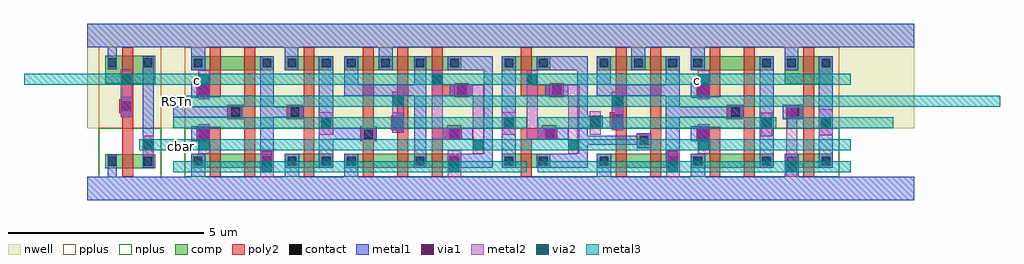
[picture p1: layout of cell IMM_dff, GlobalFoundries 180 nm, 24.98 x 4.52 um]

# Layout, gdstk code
import gdstk
lib = gdstk.Library(unit=1e-6, precision=5e-09)
def R(c, l, rs):  # rectangles x0, y0, x1, y1
    for r in rs: c.add(gdstk.rectangle(r[:2], r[2:], *l))
def A(c, l, x, y, w, h, nx, ny, dx, dy):  # array of equal rectangles
    R(c, l, [(x+i*dx, y+j*dy, x+i*dx+w, y+j*dy+h) for i in range(nx) for j in range(ny)])
nwell = (21, 0)
comp = (22, 0)
poly2 = (30, 0)
pplus = (31, 0)
nplus = (32, 0)
contact = (33, 0)
metal1 = (34, 0)
via1 = (35, 0)
metal2 = (36, 0)
via2 = (38, 0)
metal3 = (42, 0)

inv_6 = lib.new_cell('inv$6')
R(inv_6, nwell, [(0,1.84,2.2,4.52)])
R(inv_6, comp, [(0.46,0.82,1.74,1.18), (0.46,2.98,1.74,3.7)])
R(inv_6, poly2, [(0.9,0.6,1.18,3.92), (0.82,2.23,1.18,2.59)])
R(inv_6, pplus, [(0.3,1.84,1.9,3.93)])
R(inv_6, nplus, [(0.3,0.59,1.9,1.84)])
R(inv_6, contact, [(0.53,0.89,0.75,1.11), (1.45,0.89,1.67,1.11), (0.89,2.3,1.11,2.52), (0.53,3.41,0.75,3.63), (1.45,3.41,1.67,3.63)])
R(inv_6, metal1, [(0,0,2.2,0.6), (0.525,0.6,0.755,1.17), (1.42,0.83,1.7,3.69), (0.86,2.125,1.14,2.645), (0.525,3.35,0.755,3.92), (0,3.92,2.2,4.52)])
R(inv_6, via1, [(1.43,1.29,1.69,1.55), (0.87,2.28,1.13,2.54)])
R(inv_6, metal2, [(1.42,1.135,1.7,1.655), (0.86,2.125,1.14,3.355)])
R(inv_6, via2, [(1.43,1.29,1.69,1.55), (0.87,2.97,1.13,3.23)])
R(inv_6, metal3, [(1.34,1.28,2.2,1.56), (-1.615,2.96,1.7,3.24)])

imm_dff = lib.new_cell('IMM_dff')
R(imm_dff, nwell, [(-1.285,-1.94,17.68,0.74)])
R(imm_dff, comp, [(-0.825,-2.95,1.295,-2.59), (1.575,-2.95,2.815,-2.59), (3.095,-2.95,6.095,-2.59), (7.13,-2.95,8.37,-2.59), (9.565,-2.95,11.685,-2.59), (11.965,-2.95,14.085,-2.59), (14.365,-2.95,15.605,-2.59), (14.365,-0.81,15.605,-0.09), (-0.825,-0.45,1.295,-0.09), (1.575,-0.45,2.815,-0.09), (3.095,-0.45,6.095,-0.09), (7.13,-0.45,8.37,-0.09), (9.565,-0.45,11.685,-0.09), (11.965,-0.45,14.085,-0.09)])
A(imm_dff, poly2, 0.535, -3.18, 0.28, 3.32, 3, 1, 1.52, 0)
R(imm_dff, poly2, [(-0.345,-3.18,-0.065,-1.9), (4.455,-3.18,4.735,0.14), (5.335,-3.18,5.615,-1.94), (7.61,-3.18,7.89,-1.94), (10.045,-3.18,10.325,0.14), (10.925,-3.18,11.205,0.14), (12.445,-3.18,12.725,-1.9), (13.325,-3.18,13.605,0.14), (14.845,-3.18,15.125,0.14), (10.58,-2.43,10.95,-2.06), (3.5,-2.27,3.93,-1.89), (-0.675,-2.26,-0.345,-1.9), (12.115,-2.26,12.445,-1.9), (5.335,-2.22,6.09,-1.94), (5.73,-2.22,6.09,-1.86), (7.61,-2.22,8.365,-1.94), (8.16,-2.22,8.525,-1.86), (4.3,-1.99,4.735,-1.61), (9.89,-1.9,10.325,-1.52), (0.1,-1.71,0.535,-1.33), (1.62,-1.71,2.055,-1.33), (12.89,-1.71,13.325,-1.33), (14.41,-1.71,14.845,-1.33), (-0.675,-1.14,-0.345,-0.78), (-0.345,-1.14,-0.065,0.14), (5.92,-1.14,6.28,-0.78), (8.35,-1.14,8.715,-0.78), (12.115,-1.14,12.445,-0.78), (12.445,-1.14,12.725,0.14), (5.335,-1.1,5.615,0.14), (5.335,-1.1,6.39,-0.82), (7.61,-1.1,7.89,0.14), (7.61,-1.1,8.665,-0.82)])
R(imm_dff, pplus, [(-0.985,-1.94,15.765,0.14)])
R(imm_dff, nplus, [(-0.985,-3.18,15.765,-1.94)])
A(imm_dff, contact, 3.165, -0.38, 0.22, 0.22, 4, 1, 0.88, 0)
A(imm_dff, contact, 9.635, -0.38, 0.22, 0.22, 3, 1, 0.88, 0)
R(imm_dff, contact, [(-0.755,-2.88,-0.535,-2.66), (1.005,-2.88,1.225,-2.66), (1.645,-2.88,1.865,-2.66), (2.525,-2.88,2.745,-2.66), (3.165,-2.88,3.385,-2.66), (4.925,-2.88,5.145,-2.66), (5.805,-2.88,6.025,-2.66), (5.805,-2.88,6.025,-2.66), (7.2,-2.88,7.42,-2.66), (8.08,-2.88,8.3,-2.66), (9.635,-2.88,9.855,-2.66), (11.395,-2.88,11.615,-2.66), (12.035,-2.88,12.255,-2.66), (13.795,-2.88,14.015,-2.66), (14.435,-2.88,14.655,-2.66), (15.315,-2.88,15.535,-2.66), (10.655,-2.355,10.875,-2.135), (-0.605,-2.19,-0.385,-1.97), (3.605,-2.19,3.825,-1.97), (12.185,-2.19,12.405,-1.97), (5.8,-2.15,6.02,-1.93), (8.235,-2.15,8.455,-1.93), (4.37,-1.91,4.59,-1.69), (9.985,-1.82,10.205,-1.6), (1.73,-1.63,1.95,-1.41), (14.52,-1.63,14.74,-1.41), (0.21,-1.625,0.43,-1.405), (13,-1.625,13.22,-1.405), (-0.605,-1.07,-0.385,-0.85), (5.99,-1.07,6.21,-0.85), (8.425,-1.07,8.645,-0.85), (12.185,-1.07,12.405,-0.85), (-0.755,-0.38,-0.535,-0.16), (1.005,-0.38,1.225,-0.16), (1.645,-0.38,1.865,-0.16), (2.525,-0.38,2.745,-0.16), (7.2,-0.38,7.42,-0.16), (8.08,-0.38,8.3,-0.16), (12.035,-0.38,12.255,-0.16), (13.795,-0.38,14.015,-0.16), (14.435,-0.38,14.655,-0.16), (15.315,-0.38,15.535,-0.16)])
R(imm_dff, metal1, [(-1.285,-3.78,17.68,-3.18), (-0.825,-3.18,-0.46,-2.59), (1.575,-3.18,1.945,-2.59), (3.095,-3.18,3.46,-2.59), (9.565,-3.18,9.93,-2.59), (11.965,-3.18,12.33,-2.59), (14.365,-3.18,14.735,-2.59), (0.945,-2.95,1.295,-0.09), (2.45,-2.95,2.815,-0.09), (4.89,-2.95,5.19,-0.09), (5.75,-2.95,6.9,-2.59), (6.67,-2.95,6.9,-0.09), (7.13,-2.95,7.485,-0.09), (8.025,-2.95,9.335,-2.59), (9.055,-2.95,9.335,-0.09), (11.325,-2.95,11.685,-0.09), (13.735,-2.95,14.085,-0.09), (15.24,-2.95,15.605,-0.09), (10.58,-2.445,10.95,-2.06), (9.335,-2.36,10.925,-2.13), (-0.825,-2.27,-0.345,-1.89), (11.965,-2.27,12.445,-1.89), (2.45,-2.22,3.93,-1.94), (5.615,-2.22,6.39,-1.93), (8.05,-2.22,8.825,-1.93), (4.33,-2.045,4.625,-1.535), (9.335,-1.9,9.715,-1.62), (9.945,-1.9,10.24,-1.39), (14.315,-1.71,14.845,-1.33), (-1.285,-1.66,0.49,-1.38), (1.295,-1.66,2.055,-1.38), (11.685,-1.66,13.325,-1.38), (-0.825,-1.15,-0.345,-0.77), (11.965,-1.15,12.445,-0.77), (3.095,-1.1,3.46,-0.09), (3.095,-1.1,5.19,-0.82), (5.8,-1.1,6.39,-0.82), (8.235,-1.1,8.825,-0.82), (9.565,-1.1,9.92,-0.09), (9.565,-1.1,11.685,-0.82), (-0.825,-0.45,-0.465,0.14), (1.575,-0.45,1.925,0.14), (3.975,-0.45,4.335,0.14), (5.74,-0.45,6.9,-0.09), (8.025,-0.45,9.335,-0.09), (10.445,-0.45,10.805,0.14), (11.965,-0.45,12.325,0.14), (14.365,-0.45,14.715,0.14), (-1.285,0.14,17.68,0.74)])
R(imm_dff, via1, [(5.785,-2.9,6.045,-2.64), (0.985,-2.77,1.245,-2.51), (11.375,-2.77,11.635,-2.51), (-0.625,-2.21,-0.365,-1.95), (5.79,-2.21,6.05,-1.95), (8.225,-2.21,8.485,-1.95), (12.165,-2.21,12.425,-1.95), (2.505,-1.93,2.765,-1.67), (4.345,-1.93,4.605,-1.67), (7.18,-1.93,7.44,-1.67), (13.78,-1.93,14.04,-1.67), (15.29,-1.93,15.55,-1.67), (9.395,-1.89,9.655,-1.63), (9.96,-1.84,10.22,-1.58), (14.415,-1.665,14.675,-1.405), (-0.625,-1.09,-0.365,-0.83), (5.97,-1.09,6.23,-0.83), (8.405,-1.09,8.665,-0.83), (12.165,-1.09,12.425,-0.83)])
R(imm_dff, metal2, [(0.945,-3.18,1.295,-2.5), (5.75,-3.18,6.095,-2.5), (11.335,-3.18,11.685,-2.5), (14.405,-3.18,14.685,-1.33), (-0.64,-2.59,-0.345,-1.83), (6.39,-2.59,6.67,-0.82), (8.825,-2.59,9.105,-0.82), (12.15,-2.59,12.445,-1.83), (5.335,-2.22,5.615,-0.45), (5.335,-2.22,6.11,-1.94), (7.77,-2.22,8.05,-0.45), (7.77,-2.22,8.545,-1.94), (13.77,-2.14,14.05,-1.54), (15.24,-2.12,15.605,-1.445), (2.45,-2.1,2.815,-1.525), (7.125,-2.1,7.49,-1.525), (9.385,-2.1,9.665,-1.5), (4.33,-1.99,4.625,-1), (9.945,-1.99,10.24,-1), (-0.64,-1.2,-0.345,-0.45), (12.15,-1.2,12.445,-0.45), (5.91,-1.1,6.67,-0.82), (8.345,-1.1,9.105,-0.82)])
R(imm_dff, via2, [(0.985,-3.05,1.245,-2.79), (5.785,-3.05,6.045,-2.79), (11.375,-3.05,11.635,-2.79), (14.415,-3.05,14.675,-2.79), (-0.625,-2.49,-0.365,-2.23), (6.4,-2.49,6.66,-2.23), (8.835,-2.49,9.095,-2.23), (12.165,-2.49,12.425,-2.23), (2.505,-1.93,2.765,-1.67), (7.18,-1.93,7.44,-1.67), (9.395,-1.93,9.655,-1.67), (13.78,-1.93,14.04,-1.67), (15.29,-1.93,15.55,-1.67), (4.345,-1.37,4.605,-1.11), (9.96,-1.37,10.22,-1.11), (-0.625,-0.81,-0.365,-0.55), (5.345,-0.81,5.605,-0.55), (7.78,-0.81,8.04,-0.55), (12.165,-0.81,12.425,-0.55)])
R(imm_dff, metal3, [(-1.285,-3.06,7.77,-2.78), (8.05,-3.06,16.065,-2.78), (-1.285,-2.5,16.065,-2.22), (-1.285,-1.94,7.77,-1.66), (8.05,-1.94,14.15,-1.66), (14.43,-1.94,17.15,-1.66), (-1.285,-1.38,19.88,-1.1), (-2.065,-0.82,16.065,-0.54)])
imm_dff.add(gdstk.Reference(inv_6, (-3.485,-3.78)))
imm_dff.add(gdstk.Label('RSTn', (-1.17,-1.245), layer=42, texttype=4))
imm_dff.add(gdstk.Label('c', (-0.665,-0.71), layer=42, texttype=4))
imm_dff.add(gdstk.Label('cbar', (-1.06,-2.395), layer=42, texttype=4))
imm_dff.add(gdstk.Label('c', (12.125,-0.71), layer=42, texttype=4))

lib.write_gds('IMM_dff.gds')
